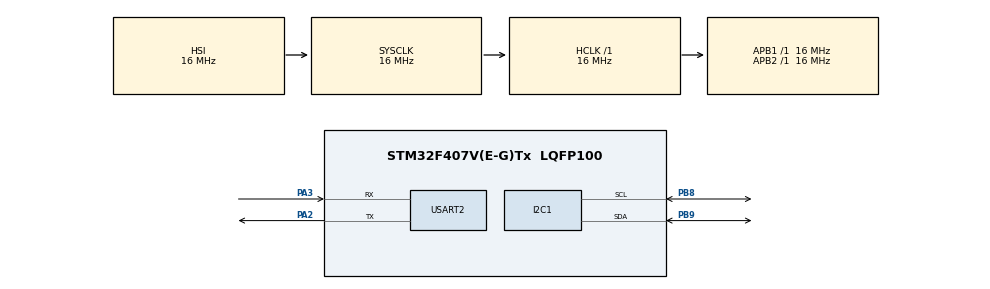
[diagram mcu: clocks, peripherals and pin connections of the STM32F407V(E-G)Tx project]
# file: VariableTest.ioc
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Dma.I2C1_RX.0.Direction=DMA_PERIPH_TO_MEMORY
Dma.I2C1_RX.0.FIFOMode=DMA_FIFOMODE_DISABLE
Dma.I2C1_RX.0.Instance=DMA1_Stream0
Dma.I2C1_RX.0.MemDataAlignment=DMA_MDATAALIGN_BYTE
Dma.I2C1_RX.0.MemInc=DMA_MINC_ENABLE
Dma.I2C1_RX.0.Mode=DMA_NORMAL
Dma.I2C1_RX.0.PeriphDataAlignment=DMA_PDATAALIGN_BYTE
Dma.I2C1_RX.0.PeriphInc=DMA_PINC_DISABLE
Dma.I2C1_RX.0.Priority=DMA_PRIORITY_HIGH
Dma.I2C1_TX.1.Direction=DMA_MEMORY_TO_PERIPH
Dma.I2C1_TX.1.FIFOMode=DMA_FIFOMODE_DISABLE
Dma.I2C1_TX.1.Instance=DMA1_Stream6
Dma.I2C1_TX.1.MemDataAlignment=DMA_MDATAALIGN_BYTE
Dma.I2C1_TX.1.MemInc=DMA_MINC_ENABLE
Dma.I2C1_TX.1.Mode=DMA_NORMAL
Dma.I2C1_TX.1.PeriphDataAlignment=DMA_PDATAALIGN_BYTE
Dma.I2C1_TX.1.PeriphInc=DMA_PINC_DISABLE
Dma.I2C1_TX.1.Priority=DMA_PRIORITY_HIGH
Dma.Request0=I2C1_RX
Dma.Request1=I2C1_TX
Mcu.Family=STM32F4
Mcu.Name=STM32F407V(E-G)Tx
Mcu.Package=LQFP100
NVIC.DMA1_Stream0_IRQn=true\:0\:0\:false\:false\:true\:false\:true\:true
NVIC.DMA1_Stream6_IRQn=true\:0\:0\:false\:false\:true\:false\:true\:true
NVIC.I2C1_ER_IRQn=true\:0\:0\:false\:false\:true\:true\:true\:true
NVIC.I2C1_EV_IRQn=true\:0\:0\:false\:false\:true\:true\:true\:true
NVIC.PriorityGroup=NVIC_PRIORITYGROUP_4
PA2.Mode=Asynchronous
PA2.Signal=USART2_TX
PA3.Mode=Asynchronous
PA3.Signal=USART2_RX
PB8.GPIO_Pu=GPIO_PULLUP
PB8.Mode=I2C
PB8.Signal=I2C1_SCL
PB9.GPIO_Pu=GPIO_PULLUP
PB9.Mode=I2C
PB9.Signal=I2C1_SDA
ProjectManager.HeapSize=0x200
ProjectManager.StackSize=0x400
ProjectManager.TargetToolchain=STM32CubeIDE
RCC.AHBFreq_Value=16000000
RCC.APB1Freq_Value=16000000
RCC.APB2Freq_Value=16000000
RCC.CortexFreq_Value=16000000
RCC.HSE_VALUE=25000000
RCC.HSI_VALUE=16000000
RCC.LSE_VALUE=32768
RCC.SYSCLKFreq_VALUE=16000000
RCC.VCOOutputFreq_Value=192000000
USART2.VirtualMode=VM_ASYNC
board=custom

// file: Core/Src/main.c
/* USER CODE BEGIN Header */
/**
 ******************************************************************************
 * @file           : main.c
 * @brief          : Main program body
 ******************************************************************************
 * @attention
 *
 * Copyright (c) 2026 STMicroelectronics.
 * All rights reserved.
 *
 * This software is licensed under terms that can be found in the LICENSE file
 * in the root directory of this software component.
 * If no LICENSE file comes with this software, it is provided AS-IS.
 *
 ******************************************************************************
 */
/* USER CODE END Header */
#include "main.h"

/* USER CODE BEGIN Includes */
#include "bno055.h"
#include "accel.h"
#include "i2c.h"
#include "eeprom.h"
#include <stdio.h>
#include <stdbool.h>
/* USER CODE END Includes */

I2C_HandleTypeDef hi2c1;
DMA_HandleTypeDef hdma_i2c1_rx;
DMA_HandleTypeDef hdma_i2c1_tx;

UART_HandleTypeDef huart2;

/* USER CODE BEGIN PV */
/* --- MEMORY SAFETY FIXES --- */
//volatile uint8_t dma_rx_complete = 0;
volatile uint8_t imu_reading[6]; // Made volatile for DMA safety

int16_t raw_x, raw_y, raw_z;
float acc_x, acc_y, acc_z;

uint8_t euler_reading[6];
uint16_t bno_offsets[11];
int16_t raw_yaw, raw_roll, raw_pitch;
float yaw, roll, pitch;

uint8_t calib_status = 0;
bool is_calibrated = false;

/* --- STATE MACHINE TRACKER --- */
HAL_StatusTypeDef sys_status = HAL_OK;
/* USER CODE END PV */

void SystemClock_Config(void);
static void MX_GPIO_Init(void);
static void MX_DMA_Init(void);
void MX_I2C1_Init(void);
static void MX_USART2_UART_Init(void);

/* USER CODE BEGIN PFP */

#ifdef __GNUC__
#define PUTCHAR_PROTOTYPE int __io_putchar(int ch)
#else
#define PUTCHAR_PROTOTYPE int fputc(int ch, FILE *f)
#endif

PUTCHAR_PROTOTYPE {
	while (HAL_UART_Transmit(&huart2, (uint8_t*) &ch, 1, 10)) {
	};
	return ch;
}

void I2C_Bus_Recovery(void); // Prototype for our new recovery function

/* USER CODE END PFP */

/* USER CODE BEGIN 0 */
/**
 * @brief Manually pulses the I2C clock to un-stick the BNO055
 * NOTE: Adjust PB8 and PB9 if your I2C pins are different (e.g., PB6/PB7)
 */
void I2C_Bus_Recovery(void) {
    GPIO_InitTypeDef GPIO_InitStruct = {0};

    // 1. Enable GPIO Clock for Port B
    __HAL_RCC_GPIOB_CLK_ENABLE();

    // 2. Temporarily configure SCL (PB8) and SDA (PB9) as standard GPIOs
    GPIO_InitStruct.Pin = GPIO_PIN_8 | GPIO_PIN_9;
    GPIO_InitStruct.Mode = GPIO_MODE_OUTPUT_OD;    // Open Drain
    GPIO_InitStruct.Pull = GPIO_PULLUP;
    GPIO_InitStruct.Speed = GPIO_SPEED_FREQ_HIGH;
    HAL_GPIO_Init(GPIOB, &GPIO_InitStruct);

    // 3. Set both lines HIGH initially
    HAL_GPIO_WritePin(GPIOB, GPIO_PIN_8 | GPIO_PIN_9, GPIO_PIN_SET);
    HAL_Delay(1);

    // 4. Send 9 Clock Pulses on SCL to flush stuck bytes out of the BNO055
    for (int i = 0; i < 9; i++) {
        HAL_GPIO_WritePin(GPIOB, GPIO_PIN_8, GPIO_PIN_RESET); // SCL LOW
        HAL_Delay(1);
        HAL_GPIO_WritePin(GPIOB, GPIO_PIN_8, GPIO_PIN_SET);   // SCL HIGH
        HAL_Delay(1);
    }

    // 5. Generate a manual I2C STOP condition (SCL High, then SDA Low -> High)
    HAL_GPIO_WritePin(GPIOB, GPIO_PIN_8, GPIO_PIN_SET);   // SCL HIGH
    HAL_Delay(1);
    HAL_GPIO_WritePin(GPIOB, GPIO_PIN_9, GPIO_PIN_RESET); // SDA LOW
    HAL_Delay(1);
    HAL_GPIO_WritePin(GPIOB, GPIO_PIN_9, GPIO_PIN_SET);   // SDA HIGH
    HAL_Delay(1);
}
/* USER CODE END 0 */

int main(void) {

	/* MCU Configuration--------------------------------------------------------*/

	/* Reset of all peripherals, Initializes the Flash interface and the Systick. */
	HAL_Init();

	/* Configure the system clock */
	SystemClock_Config();

	/* Initialize all configured peripherals */
	MX_GPIO_Init();
	MX_DMA_Init();

    /* --- CRITICAL BOOT SEQUENCE FIX --- */
    I2C_Bus_Recovery(); // Free the bus before the HAL tries to grab it!

	MX_I2C1_Init();
	MX_USART2_UART_Init();

	/* USER CODE BEGIN 2 */
	printf("\r\n--- Terminal Link Active ---\r\n");

	/* 1. Initialize EEPROM Emulation Logic */
	// This checks the headers of Sector 2 and 3 [cite: 150, 324]
	if (EE_Init() != HAL_OK) {
	    printf("EEPROM Init Failed!\r\n"); // [cite: 340, 541]
	} else {
	    /* 2. Check for saved calibration offsets in Flash */
	    uint16_t first_val;
	    // 0x0001 is our Virtual Address for Accel_X [cite: 156, 175]
	    if (EE_ReadVariable(0x0001, &first_val) == 0) {
	        printf("Saved Calibration Found! Loading...\r\n");
	        for(int i = 0; i < 11; i++) {
	            // Read all 11 variables (22 bytes) [cite: 156, 585]
	            EE_ReadVariable(0x0001 + i, &bno_offsets[i]);
	        }
	        // Load offsets into the sensor registers [cite: 54, 157]
	        BNO055_Set_Offsets(&hi2c1, bno_offsets);
	    }
	}

	/* 3. Standard BNO055 Startup */
	sys_status = BNO055_Init_I2C(&hi2c1);
	if (sys_status != HAL_OK) {
	    printf("ERROR: BNO055 Init Failed!\r\n");
	} else {
	    printf("BNO055 Initialized Successfully.\r\n");
	}

	HAL_Delay(800); // Wait for NDOF fusion

//	dma_rx_complete = 0;
	sys_status = GetAccelData(&hi2c1, (uint8_t*)imu_reading);
	/* USER CODE END 2 */
	/* Infinite loop */
	/* Infinite loop */
	  /* USER CODE BEGIN WHILE */
	  while (1)
	  {
	    /* ======================================================================
	       STATE 1: NORMAL OPERATION (DMA Data Processing)
	       ====================================================================== */
	    if (sys_status == HAL_OK)
	    {
//	      dma_rx_complete = 0; // Clear flag immediately to allow next DMA cycle

	      // --- 1. Process Accelerometer Data (from DMA Buffer) ---
	      raw_x = (int16_t) ((imu_reading[1] << 8) | imu_reading[0]);
	      raw_y = (int16_t) ((imu_reading[3] << 8) | imu_reading[2]);
	      raw_z = (int16_t) ((imu_reading[5] << 8) | imu_reading[4]);

	      acc_x = (float) raw_x / 100.0f;
	      acc_y = (float) raw_y / 100.0f;
	      acc_z = (float) raw_z / 100.0f;

	      // --- 2. Read & Process Euler Angles (Standard I2C Read) ---
	      // Uses a 100ms timeout to prevent software lockup if the bus glitche [cite: 614]
	      if (HAL_I2C_Mem_Read(&hi2c1, BNO055_I2C_ADDR_LO << 1, BNO055_EUL_HEADING_LSB,
	                           I2C_MEMADD_SIZE_8BIT, euler_reading, 6, 100) == HAL_OK)
	      {
	        raw_yaw   = (int16_t)((euler_reading[1] << 8) | euler_reading[0]);
	        raw_roll  = (int16_t)((euler_reading[3] << 8) | euler_reading[2]);
	        raw_pitch = (int16_t)((euler_reading[5] << 8) | euler_reading[4]);

	        yaw   = (float) raw_yaw / 16.0f;
	        roll  = (float) raw_roll / 16.0f;
	        pitch = (float) raw_pitch / 16.0f;
	      }

	      // --- 3. Auto-Save Calibration Offsets (EEPROM Emulation) ---
	      // Check the CALIB_STAT register (0x35) to see if fusion is complete [cite: 312]
	      if (HAL_I2C_Mem_Read(&hi2c1, BNO055_I2C_ADDR_LO << 1, 0x35, 1, &calib_status, 1, 100) == HAL_OK)
	      {
	        // 0xFF indicates Sys, Gyro, Accel, and Mag are all at Level 3 calibration
	        if (calib_status == 0xFF && !is_calibrated)
	        {
	          printf("Calibration 100%%! Persisting offsets to Flash...\r\n");

	          // Read 22 bytes of offsets (0x55 to 0x6A) into our local array
	          BNO055_Get_Offsets(&hi2c1, bno_offsets);

	          HAL_I2C_DeInit(&hi2c1);

	          // Store variables in Flash. Each update uses 4 bytes of Flash [cite: 164, 585]
	          for(int i = 0; i < 11; i++)
	          {
	            EE_WriteVariable(0x0001 + i, bno_offsets[i]);
	          }

	          is_calibrated = true; // Flag to prevent saving again and wearing out Flash [cite: 458, 560]
	          printf("Offsets Saved Successfully.\r\n");
	          I2C_Bus_Recovery();
	          MX_I2C1_Init();
	          sys_status = GetAccelData(&hi2c1, (uint8_t*)imu_reading);
	        }
	      }

	      // --- 4. Loop Pacing & Next Cycle Trigger ---
	      HAL_Delay(50); // Small delay so we don't saturate the I2C bus

	      // Start the NEXT DMA background read
	      sys_status = GetAccelData(&hi2c1, (uint8_t*)imu_reading);
	    }

	    /* ======================================================================
	       STATE 2: ERROR RECOVERY (The HAL_BUSY & Hardware Hang Killer)
	       ====================================================================== */
	    else if (sys_status != HAL_OK)
	        {
	          printf("Software Error (0) detected. Forcing Full State Reset...\r\n");

	          // 1. Force Software Unlock and Reset
	          __HAL_UNLOCK(&hi2c1);          // Break any internal HAL locks
	          HAL_I2C_DeInit(&hi2c1);        // Shut down the peripheral
	          hi2c1.State = HAL_I2C_STATE_RESET;

	          // 2. Hardware Pulse (The usual recovery)
	          I2C_Bus_Recovery();

	          // 3. Re-Initialize
	          MX_I2C1_Init();

	          // 4. CRITICAL: Wait for the HAL to finish internal setup
	          HAL_Delay(10);

	          // 5. Force the state to READY manually just in case Init was lazy
	          hi2c1.State = HAL_I2C_STATE_READY;

	          sys_status = GetAccelData(&hi2c1, (uint8_t*)imu_reading);
	        }	    /* USER CODE END WHILE */

	  }
}

void SystemClock_Config(void) {
	RCC_OscInitTypeDef RCC_OscInitStruct = { 0 };
	RCC_ClkInitTypeDef RCC_ClkInitStruct = { 0 };

	/** Configure the main internal regulator output voltage
	 */
	__HAL_RCC_PWR_CLK_ENABLE();
	__HAL_PWR_VOLTAGESCALING_CONFIG(PWR_REGULATOR_VOLTAGE_SCALE1);

	/** Initializes the RCC Oscillators according to the specified parameters
	 * in the RCC_OscInitTypeDef structure.
	 */
	RCC_OscInitStruct.OscillatorType = RCC_OSCILLATORTYPE_HSI;
	RCC_OscInitStruct.HSIState = RCC_HSI_ON;
	RCC_OscInitStruct.HSICalibrationValue = RCC_HSICALIBRATION_DEFAULT;
	RCC_OscInitStruct.PLL.PLLState = RCC_PLL_NONE;
	if (HAL_RCC_OscConfig(&RCC_OscInitStruct) != HAL_OK) {
		Error_Handler();
	}

	/** Initializes the CPU, AHB and APB buses clocks
	 */
	RCC_ClkInitStruct.ClockType = RCC_CLOCKTYPE_HCLK | RCC_CLOCKTYPE_SYSCLK
			| RCC_CLOCKTYPE_PCLK1 | RCC_CLOCKTYPE_PCLK2;
	RCC_ClkInitStruct.SYSCLKSource = RCC_SYSCLKSOURCE_HSI;
	RCC_ClkInitStruct.AHBCLKDivider = RCC_SYSCLK_DIV1;
	RCC_ClkInitStruct.APB1CLKDivider = RCC_HCLK_DIV1;
	RCC_ClkInitStruct.APB2CLKDivider = RCC_HCLK_DIV1;

	if (HAL_RCC_ClockConfig(&RCC_ClkInitStruct, FLASH_LATENCY_0) != HAL_OK) {
		Error_Handler();
	}
}

void MX_I2C1_Init(void) {

	hi2c1.Instance = I2C1;
	hi2c1.Init.ClockSpeed = 100000;
	hi2c1.Init.DutyCycle = I2C_DUTYCYCLE_2;
	hi2c1.Init.OwnAddress1 = 0;
	hi2c1.Init.AddressingMode = I2C_ADDRESSINGMODE_7BIT;
	hi2c1.Init.DualAddressMode = I2C_DUALADDRESS_DISABLE;
	hi2c1.Init.OwnAddress2 = 0;
	hi2c1.Init.GeneralCallMode = I2C_GENERALCALL_DISABLE;
	hi2c1.Init.NoStretchMode = I2C_NOSTRETCH_DISABLE;
	__HAL_RCC_I2C1_FORCE_RESET();
	HAL_Delay(2);
	__HAL_RCC_I2C1_RELEASE_RESET();
	if (HAL_I2C_Init(&hi2c1) != HAL_OK) {
		Error_Handler();
	}

}

static void MX_USART2_UART_Init(void) {

	huart2.Instance = USART2;
	huart2.Init.BaudRate = 115200;
	huart2.Init.WordLength = UART_WORDLENGTH_8B;
	huart2.Init.StopBits = UART_STOPBITS_1;
	huart2.Init.Parity = UART_PARITY_NONE;
	huart2.Init.Mode = UART_MODE_TX_RX;
	huart2.Init.HwFlowCtl = UART_HWCONTROL_NONE;
	huart2.Init.OverSampling = UART_OVERSAMPLING_16;
	if (HAL_UART_Init(&huart2) != HAL_OK) {
		Error_Handler();
	}

}

static void MX_DMA_Init(void) {

	/* DMA controller clock enable */
	__HAL_RCC_DMA1_CLK_ENABLE();

	/* DMA interrupt init */
	/* DMA1_Stream0_IRQn interrupt configuration */
	HAL_NVIC_SetPriority(DMA1_Stream0_IRQn, 0, 0);
	HAL_NVIC_EnableIRQ(DMA1_Stream0_IRQn);
	/* DMA1_Stream6_IRQn interrupt configuration */
	HAL_NVIC_SetPriority(DMA1_Stream6_IRQn, 0, 0);
	HAL_NVIC_EnableIRQ(DMA1_Stream6_IRQn);

}

static void MX_GPIO_Init(void) {

	/* GPIO Ports Clock Enable */
	__HAL_RCC_GPIOA_CLK_ENABLE();
	__HAL_RCC_GPIOB_CLK_ENABLE();

}

/* USER CODE BEGIN 4 */
//void HAL_I2C_MemRxCpltCallback(I2C_HandleTypeDef *hi2c) {
//	if (hi2c->Instance == I2C1) {
//		dma_rx_complete = 1; // Signal the main loop
//	}
//}

/* USER CODE END 4 */

void Error_Handler(void) {
	__disable_irq();
	while (1) {
	}
}
